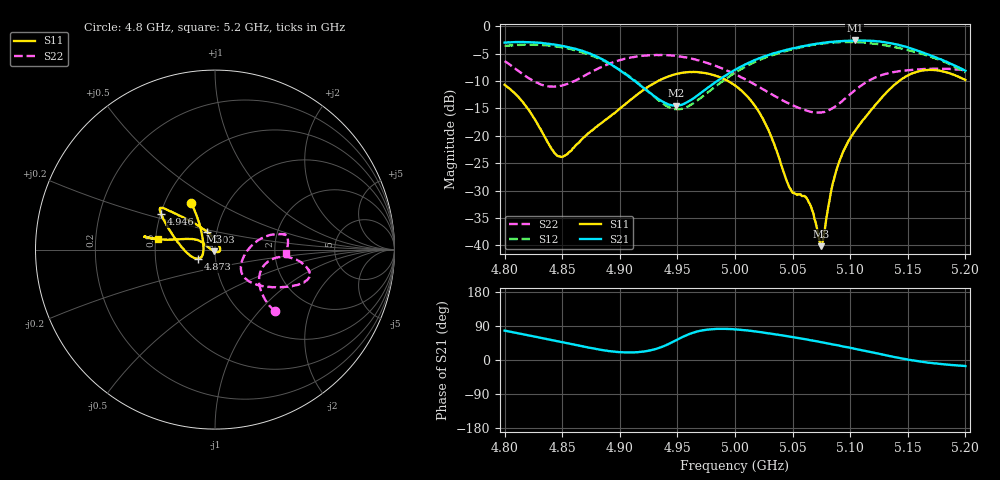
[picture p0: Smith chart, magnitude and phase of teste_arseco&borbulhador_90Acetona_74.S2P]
! Network Analyzer HP8722D
! Hewlett-Packard
! Data name: Linha & Wilkinson
! Saver's name: Rodrigo Anjos
! Comments: Teste da utilização de aquisição
! continua pelo VNA HP8722D
! Time and date: 17/4/2025 11:40
!  Frequency  S11  S21  S12  S22
# HZ  S  MA R 50
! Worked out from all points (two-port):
!   401 points, 4.8 GHz to 5.2 GHz, reference 50 ohm
!   highest |S21| = -2.59 dB at 5.104 GHz (marker M1); lowest = -14.5 dB at 4.949 GHz (marker M2)
!   |S21| within 3 dB of the highest: start of sweep to 4.881 GHz; 5.024 GHz to 5.173 GHz (148.9 MHz wide, 2.92 % of centre)
!   lowest |S11| = -40.2 dB at 5.075 GHz (marker M3), VSWR 1.02, Z = 49.6 - j0.871 ohm
!   |S11| at or under -10 dB: start of sweep to 4.933 GHz; 4.994 GHz to 5.143 GHz (148.6 MHz wide, 2.93 % of centre)
!   |S22| runs from -15.8 to -5.2 dB; largest |S21 - S12| = 1
!   S11 on the Smith chart (normalised r, x): 4.8 GHz: 0.68, +0.38; 4.873 GHz: 0.83, -0.08; 4.946 GHz: 0.50, +0.23; 5.03 GHz: 0.90, +0.18; 5.2 GHz: 0.51, +0.07
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4.8e9  0.292 117.1  0.7089 77.6  0.6622 -16.0  0.4803 -45.8
4.818e9  0.1897 119.7  0.7174 66.7  0.6793 -23.8  0.3525 -42.6
4.845e9  0.0668 164.1  0.6757 50.0  0.6531 -36.7  0.2819 -21.4
4.867e9  0.09273 -150.3  0.5997 36.5  0.5794 -48.1  0.3435 -7.5
4.873e9  0.1061 -151.4  0.5684 32.8  0.5523 -51.0  0.3706 -6.4
4.901e9  0.1808 177.4  0.3902 20.5  0.3935 -62.6  0.4946 -9.0
4.934e9  0.3196 151.1  0.2146 31.7  0.21 -55.9  0.5455 -15.8
4.946e9  0.3593 146.6  0.1895 47.9  0.1771 -39.6  0.5402 -18.4
4.949e9  0.3661 145.8  0.1883 52.8  0.175 -34.6  0.5351 -19.1
4.975e9  0.3728 141.4  0.2677 79.8  0.2425 -2.4  0.4664 -26.1
5e9  0.2889 137.2  0.4005 80.7  0.377 3.4  0.3648 -34.6
5.017e9  0.1897 128.3  0.4914 75.6  0.4706 0.3  0.2948 -40.8
5.03e9  0.1068 114.0  0.5503 69.9  0.5341 -3.8  0.2449 -43.4
5.048e9  0.03283 46.2  0.6216 61.5  0.6102 -10.9  0.1942 -40.7
5.061e9  0.0279 -20.2  0.6644 54.7  0.6561 -17.0  0.1717 -32.2
5.067e9  0.02087 -41.4  0.6826 51.7  0.6761 -20.2  0.1645 -26.5
5.075e9  0.009818 -116.5  0.7021 46.9  0.6941 -24.7  0.1634 -16.1
5.088e9  0.04858 156.7  0.7273 39.4  0.7141 -32.5  0.1887 1.5
5.104e9  0.1098 151.8  0.7426 29.8  0.7163 -42.9  0.2596 13.1
5.134e9  0.2645 168.0  0.7033 10.5  0.6594 -61.1  0.3756 13.3
5.163e9  0.3956 169.7  0.5754 -4.9  0.5564 -74.4  0.4059 11.2
5.2e9  0.3233 169.5  0.3929 -16.0  0.3781 -84.5  0.3952 -2.4
